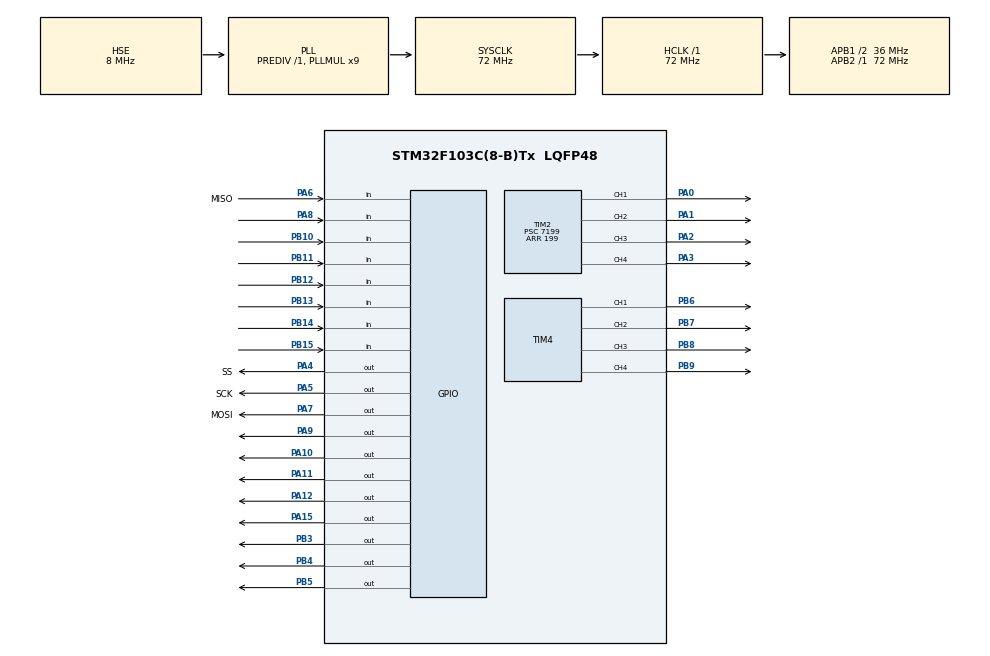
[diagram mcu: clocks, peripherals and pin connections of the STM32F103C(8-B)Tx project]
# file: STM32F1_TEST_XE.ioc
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Mcu.Family=STM32F1
Mcu.Name=STM32F103C(8-B)Tx
Mcu.Package=LQFP48
NVIC.PriorityGroup=NVIC_PRIORITYGROUP_4
PA0-WKUP.GPIO_Speed=GPIO_SPEED_FREQ_HIGH
PA0-WKUP.Signal=S_TIM2_CH1_ETR
PA1.GPIO_Speed=GPIO_SPEED_FREQ_HIGH
PA1.Signal=S_TIM2_CH2
PA10.Signal=GPIO_Output
PA11.Signal=GPIO_Output
PA12.Signal=GPIO_Output
PA13.Mode=Serial_Wire
PA13.Signal=SYS_JTMS-SWDIO
PA14.Mode=Serial_Wire
PA14.Signal=SYS_JTCK-SWCLK
PA15.Signal=GPIO_Output
PA2.GPIO_Speed=GPIO_SPEED_FREQ_HIGH
PA2.Signal=S_TIM2_CH3
PA3.GPIO_Speed=GPIO_SPEED_FREQ_HIGH
PA3.Signal=S_TIM2_CH4
PA4.GPIO_Label=SS
PA4.GPIO_Speed=GPIO_SPEED_FREQ_HIGH
PA4.PinState=GPIO_PIN_SET
PA4.Signal=GPIO_Output
PA5.GPIO_Label=SCK
PA5.GPIO_Speed=GPIO_SPEED_FREQ_HIGH
PA5.PinState=GPIO_PIN_SET
PA5.Signal=GPIO_Output
PA6.GPIO_Label=MISO
PA6.GPIO_Mode=GPIO_MODE_INPUT
PA6.Signal=GPIO_Input
PA7.GPIO_Label=MOSI
PA7.GPIO_Speed=GPIO_SPEED_FREQ_HIGH
PA7.PinState=GPIO_PIN_SET
PA7.Signal=GPIO_Output
PA8.Signal=GPIO_Input
PA9.Signal=GPIO_Output
PB10.Signal=GPIO_Input
PB11.Signal=GPIO_Input
PB12.Signal=GPIO_Input
PB13.Signal=GPIO_Input
PB14.Signal=GPIO_Input
PB15.Signal=GPIO_Input
PB3.Signal=GPIO_Output
PB4.Signal=GPIO_Output
PB5.Signal=GPIO_Output
PB6.Signal=S_TIM4_CH1
PB7.Signal=S_TIM4_CH2
PB8.Signal=S_TIM4_CH3
PB9.Signal=S_TIM4_CH4
PD0-OSC_IN.Mode=HSE-External-Oscillator
PD0-OSC_IN.Signal=RCC_OSC_IN
PD1-OSC_OUT.Mode=HSE-External-Oscillator
PD1-OSC_OUT.Signal=RCC_OSC_OUT
ProjectManager.HeapSize=0x200
ProjectManager.StackSize=0x400
ProjectManager.TargetToolchain=MDK-ARM V5
RCC.AHBFreq_Value=72000000
RCC.APB1CLKDivider=RCC_HCLK_DIV2
RCC.APB1Freq_Value=36000000
RCC.APB1TimFreq_Value=72000000
RCC.APB2Freq_Value=72000000
RCC.APB2TimFreq_Value=72000000
RCC.HCLKFreq_Value=72000000
RCC.PLLMUL=RCC_PLL_MUL9
RCC.PLLSourceVirtual=RCC_PLLSOURCE_HSE
RCC.SYSCLKFreq_VALUE=72000000
RCC.SYSCLKSource=RCC_SYSCLKSOURCE_PLLCLK
RCC.USBFreq_Value=72000000
SH.S_TIM2_CH1_ETR.0=TIM2_CH1,PWM Generation1 CH1
SH.S_TIM2_CH2.0=TIM2_CH2,PWM Generation2 CH2
SH.S_TIM2_CH3.0=TIM2_CH3,PWM Generation3 CH3
SH.S_TIM2_CH4.0=TIM2_CH4,PWM Generation4 CH4
SH.S_TIM4_CH1.0=TIM4_CH1,PWM Generation1 CH1
SH.S_TIM4_CH2.0=TIM4_CH2,PWM Generation2 CH2
SH.S_TIM4_CH3.0=TIM4_CH3,PWM Generation3 CH3
SH.S_TIM4_CH4.0=TIM4_CH4,PWM Generation4 CH4
TIM2.Channel-PWM\ Generation1\ CH1=TIM_CHANNEL_1
TIM2.Channel-PWM\ Generation2\ CH2=TIM_CHANNEL_2
TIM2.Channel-PWM\ Generation3\ CH3=TIM_CHANNEL_3
TIM2.Channel-PWM\ Generation4\ CH4=TIM_CHANNEL_4
TIM2.Period=199
TIM2.Prescaler=7199
TIM3.Prescaler=71
TIM4.Channel-PWM\ Generation1\ CH1=TIM_CHANNEL_1
TIM4.Channel-PWM\ Generation2\ CH2=TIM_CHANNEL_2
TIM4.Channel-PWM\ Generation3\ CH3=TIM_CHANNEL_3
TIM4.Channel-PWM\ Generation4\ CH4=TIM_CHANNEL_4
VP_TIM1_VS_ClockSourceINT.Mode=Internal
VP_TIM2_VS_ClockSourceINT.Mode=Internal
VP_TIM3_VS_ClockSourceINT.Mode=Internal
VP_TIM4_VS_ClockSourceINT.Mode=Internal
board=custom

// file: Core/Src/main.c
/* USER CODE BEGIN Header */
/**
  ****************************************************************************
  * @file           : main.c
  * @brief          : Main program body
  ****************************************************************************
  * @attention
  *
  * Copyright (c) 2022 STMicroelectronics.
  * All rights reserved.
  *
  * This software is licensed under terms that can be found in the LICENSE file
  * in the root directory of this software component.
  * If no LICENSE file comes with this software, it is provided AS-IS.
  *
  ****************************************************************************
  */
/* USER CODE END Header */
#include "main.h"
#include "PS2.h"

 TIM_HandleTypeDef htim1;
TIM_HandleTypeDef htim2;
TIM_HandleTypeDef htim3;
TIM_HandleTypeDef htim4;

void SystemClock_Config(void);
static void MX_GPIO_Init(void);
static void MX_TIM2_Init(void);
static void MX_TIM3_Init(void);
static void MX_TIM1_Init(void);
static void MX_TIM4_Init(void);
/* USER CODE BEGIN PFP */
int check = 0;
int leftMotorSpeed;
int rightMotorSpeed;
int count = 0;
uint8_t LFSensor[5];
uint8_t Obsen[2];
uint16_t InitSpeedLeft = 500;
uint16_t InitSpeedRight = 500;
int error;
int previous_error = 0;
int chuyen_mode = 0;
int time_delay = 20;
/* USER CODE END PFP */

/* USER CODE BEGIN 0 */
void SpeedControl(int leftMotorSpeed, int rightMotorSpeed);
void Tien(){
	HAL_GPIO_WritePin(GPIOB, Tren_Trai_1, GPIO_PIN_RESET);
	HAL_GPIO_WritePin(GPIOA, Tren_Trai_2, GPIO_PIN_SET);
	HAL_GPIO_WritePin(GPIOB, Tren_Phai_1, GPIO_PIN_RESET);
	HAL_GPIO_WritePin(GPIOB, Tren_Phai_2, GPIO_PIN_SET);
	//////////////////////
	HAL_GPIO_WritePin(GPIOA, Duoi_Trai_1, GPIO_PIN_RESET);
	HAL_GPIO_WritePin(GPIOA, Duoi_Trai_2, GPIO_PIN_SET);
	HAL_GPIO_WritePin(GPIOA, Duoi_Phai_1, GPIO_PIN_RESET);
	HAL_GPIO_WritePin(GPIOA, Duoi_Phai_2, GPIO_PIN_SET);
}
void Lui(){
HAL_GPIO_WritePin(GPIOB, Tren_Trai_1, GPIO_PIN_SET);
	HAL_GPIO_WritePin(GPIOA, Tren_Trai_2, GPIO_PIN_RESET);
	HAL_GPIO_WritePin(GPIOB, Tren_Phai_1, GPIO_PIN_SET);
	HAL_GPIO_WritePin(GPIOB, Tren_Phai_2, GPIO_PIN_RESET);
	//////////////////////
	HAL_GPIO_WritePin(GPIOA, Duoi_Trai_1, GPIO_PIN_SET);
	HAL_GPIO_WritePin(GPIOA, Duoi_Trai_2, GPIO_PIN_RESET);
	HAL_GPIO_WritePin(GPIOA, Duoi_Phai_1, GPIO_PIN_SET);
	HAL_GPIO_WritePin(GPIOA, Duoi_Phai_2, GPIO_PIN_RESET);
}
void Trai(){
	HAL_GPIO_WritePin(GPIOB, Tren_Trai_1, GPIO_PIN_RESET);
	HAL_GPIO_WritePin(GPIOA, Tren_Trai_2, GPIO_PIN_SET);
	HAL_GPIO_WritePin(GPIOB, Tren_Phai_1, GPIO_PIN_RESET);
	HAL_GPIO_WritePin(GPIOB, Tren_Phai_2, GPIO_PIN_RESET);
	//////////////////////
	HAL_GPIO_WritePin(GPIOA, Duoi_Trai_1, GPIO_PIN_RESET);
	HAL_GPIO_WritePin(GPIOA, Duoi_Trai_2, GPIO_PIN_SET);
	HAL_GPIO_WritePin(GPIOA, Duoi_Phai_1, GPIO_PIN_RESET);
	HAL_GPIO_WritePin(GPIOA, Duoi_Phai_2, GPIO_PIN_RESET);
}
void Phai(){
	HAL_GPIO_WritePin(GPIOB, Tren_Trai_1, GPIO_PIN_RESET);
	HAL_GPIO_WritePin(GPIOA, Tren_Trai_2, GPIO_PIN_RESET);
	HAL_GPIO_WritePin(GPIOB, Tren_Phai_1, GPIO_PIN_RESET);
	HAL_GPIO_WritePin(GPIOB, Tren_Phai_2, GPIO_PIN_SET);
	//////////////////////
	HAL_GPIO_WritePin(GPIOA, Duoi_Trai_1, GPIO_PIN_RESET);
	HAL_GPIO_WritePin(GPIOA, Duoi_Trai_2, GPIO_PIN_RESET);
	HAL_GPIO_WritePin(GPIOA, Duoi_Phai_1, GPIO_PIN_RESET);
	HAL_GPIO_WritePin(GPIOA, Duoi_Phai_2, GPIO_PIN_SET);
}
void Trai_Tai_Cho(){
	HAL_GPIO_WritePin(GPIOB, Tren_Trai_1, GPIO_PIN_SET);
	HAL_GPIO_WritePin(GPIOA, Tren_Trai_2, GPIO_PIN_RESET);
	HAL_GPIO_WritePin(GPIOB, Tren_Phai_1, GPIO_PIN_RESET);
	HAL_GPIO_WritePin(GPIOB, Tren_Phai_2, GPIO_PIN_SET);
	//////////////////////
	HAL_GPIO_WritePin(GPIOA, Duoi_Trai_1, GPIO_PIN_SET);
	HAL_GPIO_WritePin(GPIOA, Duoi_Trai_2, GPIO_PIN_RESET);
	HAL_GPIO_WritePin(GPIOA, Duoi_Phai_1, GPIO_PIN_RESET);
	HAL_GPIO_WritePin(GPIOA, Duoi_Phai_2, GPIO_PIN_SET);
}
void Phai_Tai_Cho(){
	HAL_GPIO_WritePin(GPIOB, Tren_Trai_1, GPIO_PIN_RESET);
	HAL_GPIO_WritePin(GPIOA, Tren_Trai_2, GPIO_PIN_SET);
	HAL_GPIO_WritePin(GPIOB, Tren_Phai_1, GPIO_PIN_SET);
	HAL_GPIO_WritePin(GPIOB, Tren_Phai_2, GPIO_PIN_RESET);
	//////////////////////
	HAL_GPIO_WritePin(GPIOA, Duoi_Trai_1, GPIO_PIN_RESET);
	HAL_GPIO_WritePin(GPIOA, Duoi_Trai_2, GPIO_PIN_SET);
	HAL_GPIO_WritePin(GPIOA, Duoi_Phai_1, GPIO_PIN_SET);
	HAL_GPIO_WritePin(GPIOA, Duoi_Phai_2, GPIO_PIN_RESET);
}
void Dung(){
	HAL_GPIO_WritePin(GPIOB, Tren_Trai_1, GPIO_PIN_RESET);
	HAL_GPIO_WritePin(GPIOA, Tren_Trai_2, GPIO_PIN_RESET);
	HAL_GPIO_WritePin(GPIOB, Tren_Phai_1, GPIO_PIN_RESET);
	HAL_GPIO_WritePin(GPIOB, Tren_Phai_2, GPIO_PIN_RESET);
	//////////////////////
	HAL_GPIO_WritePin(GPIOA, Duoi_Trai_1, GPIO_PIN_RESET);
	HAL_GPIO_WritePin(GPIOA, Duoi_Trai_2, GPIO_PIN_RESET);
	HAL_GPIO_WritePin(GPIOA, Duoi_Phai_1, GPIO_PIN_RESET);
	HAL_GPIO_WritePin(GPIOA, Duoi_Phai_2, GPIO_PIN_RESET);
}
/* Private user code ---------------------------------------------------------*/
/* USER CODE BEGIN 0 */
void read_sen()
{
			LFSensor[0] = HAL_GPIO_ReadPin(GPIOB,	GPIO_PIN_12);
		LFSensor[1] = HAL_GPIO_ReadPin(GPIOB, GPIO_PIN_13);
		LFSensor[2] = HAL_GPIO_ReadPin(GPIOB, GPIO_PIN_14);
		LFSensor[3] = HAL_GPIO_ReadPin(GPIOB, GPIO_PIN_15);
		LFSensor[4] = HAL_GPIO_ReadPin(GPIOB, GPIO_PIN_11);
}
void read_line_sensor()
{
		read_sen();
		if((LFSensor[0]== 0 )&&(LFSensor[1]== 0 )&&(LFSensor[2]== 0 )&&(LFSensor[3]== 0 )&&(LFSensor[4]== 0 ))
		{
				error = previous_error;
		}

		if((LFSensor[0]== 0 )&&(LFSensor[1]== 0 )&&(LFSensor[2]== 0 )&&(LFSensor[3]== 0 )&&(LFSensor[4]== 1 )) error = 4; // Thang trai vua

			else if((LFSensor[0]== 0 )&&(LFSensor[1]== 0 )&&(LFSensor[2]== 0 )&&(LFSensor[3]== 1 )&&(LFSensor[4]== 0 )) error = 3; // Thang trai nhe

			else if((LFSensor[0]== 0 )&&(LFSensor[1]== 0 )&&(LFSensor[2]== 0 )&&(LFSensor[3]== 1 )&&(LFSensor[4]== 1 )) error = 4; // Thang trai vua

			else if((LFSensor[0]== 0 )&&(LFSensor[1]== 0 )&&(LFSensor[2]== 1 )&&(LFSensor[3]== 0 )&&(LFSensor[4]== 0 )) error = 0; // Thang full speed

			else if((LFSensor[0]== 0 )&&(LFSensor[1]== 0 )&&(LFSensor[2]== 1 )&&(LFSensor[3]== 1 )&&(LFSensor[4]== 0 )) error = 0; // Thang full speed

			else if((LFSensor[0]== 0 )&&(LFSensor[1]== 1 )&&(LFSensor[2]== 1 )&&(LFSensor[3]== 0 )&&(LFSensor[4]== 0 )) error = 0; // Thang full speed

			else if((LFSensor[0]== 0 )&&(LFSensor[1]== 0 )&&(LFSensor[2]== 1 )&&(LFSensor[3]== 1 )&&(LFSensor[4]== 1 )) error = 2; // Trai tai cho full speed

			else if((LFSensor[0]== 0 )&&(LFSensor[1]== 1 )&&(LFSensor[2]== 1 )&&(LFSensor[3]== 1 )&&(LFSensor[4]== 1 )) error = 2; // Trai tai cho full speed

			else if((LFSensor[0]== 1 )&&(LFSensor[1]== 0 )&&(LFSensor[2]== 0 )&&(LFSensor[3]== 0 )&&(LFSensor[4]== 0 )) error = -4; // Thang phai vua

			else if((LFSensor[0]== 0 )&&(LFSensor[1]== 1 )&&(LFSensor[2]== 0 )&&(LFSensor[3]== 0 )&&(LFSensor[4]== 0 )) error = -3; // Thang phai nhe

			else if((LFSensor[0]== 1 )&&(LFSensor[1]== 1 )&&(LFSensor[2]== 0 )&&(LFSensor[3]== 0 )&&(LFSensor[4]== 0 )) error = -4; // Thang phai vua

			else if((LFSensor[0]== 1 )&&(LFSensor[1]== 1 )&&(LFSensor[2]== 1 )&&(LFSensor[3]== 0 )&&(LFSensor[4]== 0 )) error = -2; // Phai tai cho full speed

			else if((LFSensor[0]== 1 )&&(LFSensor[1]== 1 )&&(LFSensor[2]== 1 )&&(LFSensor[3]== 1 )&&(LFSensor[4]== 0 )) error = -2; // Phai tai cho full speed

			else if((LFSensor[0]== 1 )&&(LFSensor[1]== 0 )&&(LFSensor[2]== 1 )&&(LFSensor[3]== 1 )&&(LFSensor[4]== 0 ))
			{
					check = 1;
					error = 0;
					HAL_GPIO_WritePin(GPIOC, GPIO_PIN_13, GPIO_PIN_SET);
			}

			else if((LFSensor[0]== 0 )&&(LFSensor[1]== 1 )&&(LFSensor[2]== 1 )&&(LFSensor[3]== 0 )&&(LFSensor[4]== 1 ))
			{
					check = 1;
					error = 0;
					HAL_GPIO_WritePin(GPIOC, GPIO_PIN_13, GPIO_PIN_SET);
			}

			else if((LFSensor[0]== 1 )&&(LFSensor[1]== 1 )&&(LFSensor[2]== 0 )&&(LFSensor[3]== 1 )&&(LFSensor[4]== 0 ))
			{
					check = 1;
					error = 0;
					HAL_GPIO_WritePin(GPIOC, GPIO_PIN_13, GPIO_PIN_SET);
			}
			else if((LFSensor[0]== 0 )&&(LFSensor[1]== 1 )&&(LFSensor[2]== 0 )&&(LFSensor[3]== 1 )&&(LFSensor[4]== 1 ))
			{
					check = 1;
					error = 0;
					HAL_GPIO_WritePin(GPIOC, GPIO_PIN_13, GPIO_PIN_SET);
			}

			else if((LFSensor[0]== 1 )&&(LFSensor[1]== 1 )&&(LFSensor[2]== 0 )&&(LFSensor[3]== 0 )&&(LFSensor[4]== 1 ))
			{
					check = 1;
					error = 0;
					HAL_GPIO_WritePin(GPIOC, GPIO_PIN_13, GPIO_PIN_SET);
			}

			else if((LFSensor[0]== 1 )&&(LFSensor[1]== 0 )&&(LFSensor[2]== 0 )&&(LFSensor[3]== 1 )&&(LFSensor[4]== 1 ))
			{
					check = 1;
					error = 0;
					HAL_GPIO_WritePin(GPIOC, GPIO_PIN_13, GPIO_PIN_SET);
			}

			else if((LFSensor[0]== 1 )&&(LFSensor[1]== 1 )&&(LFSensor[2]== 0 )&&(LFSensor[3]== 1 )&&(LFSensor[4]== 1 ))
			{
					check = 1;
					error = 0;
					HAL_GPIO_WritePin(GPIOC, GPIO_PIN_13, GPIO_PIN_SET);
			}

			else if((LFSensor[0]== 1 )&&(LFSensor[1]== 0 )&&(LFSensor[2]== 0 )&&(LFSensor[3]== 1 )&&(LFSensor[4]== 0 ))
			{
					check = 1;
					error = 0;
					HAL_GPIO_WritePin(GPIOC, GPIO_PIN_13, GPIO_PIN_SET);
			}

			else if((LFSensor[0]== 0 )&&(LFSensor[1]== 1 )&&(LFSensor[2]== 0 )&&(LFSensor[3]== 0 )&&(LFSensor[4]== 1 ))
			{
					check = 1;
					error = 0;
					HAL_GPIO_WritePin(GPIOC, GPIO_PIN_13, GPIO_PIN_SET);
			}

			else if((LFSensor[0]== 1 )&&(LFSensor[1]== 0 )&&(LFSensor[2]== 0 )&&(LFSensor[3]== 0 )&&(LFSensor[4]== 1 ))
			{
					check = 1;
					error = 0;
					HAL_GPIO_WritePin(GPIOC, GPIO_PIN_13, GPIO_PIN_SET);
			}

			else if((LFSensor[0]== 1 )&&(LFSensor[1]== 0 )&&(LFSensor[2]== 1 )&&(LFSensor[3]== 0 )&&(LFSensor[4]== 1 ))
			{
					check = 1;
					error = 0;
					HAL_GPIO_WritePin(GPIOC, GPIO_PIN_13, GPIO_PIN_SET);
			}

			else if((LFSensor[0]== 1)&&(LFSensor[1]== 1 )&&(LFSensor[2]== 1 )&&(LFSensor[3]== 1 )&&(LFSensor[4]== 1 )){
					if (check == 0){
						error = 0;
					}else if (check ==1){
						error = 10;
						check =0;
						HAL_GPIO_WritePin(GPIOC, GPIO_PIN_13, GPIO_PIN_RESET);
					}
			}
			else if((LFSensor[0]== 0 )&&(LFSensor[1]== 1 )&&(LFSensor[2]== 1 )&&(LFSensor[3]== 1 )&&(LFSensor[4]== 0 )){
					check = 1;
					error = 0;
			}
			if (count>1000){
					check = 0;
					count = 0;
					HAL_GPIO_WritePin(GPIOC, GPIO_PIN_13, GPIO_PIN_RESET);
			}
}

void calculateSpeed()
{

	if(error==0){
			Tien();
			//HAL_GPIO_WritePin(GPIOC, GPIO_PIN_13, GPIO_PIN_SET);
			SpeedControl(InitSpeedLeft-100, InitSpeedRight-100);
			HAL_Delay(time_delay);
	}else if(error==-4){
			Phai_Tai_Cho();
			//Tien();
			SpeedControl(InitSpeedLeft - 100, InitSpeedRight - 100);
			HAL_Delay(time_delay);
	}else if(error==4){
			Trai_Tai_Cho();
			//Tien();
			SpeedControl(InitSpeedLeft - 100 , InitSpeedRight - 100);
			HAL_Delay(time_delay);
//	}else if(error==-2){
//			Phai_Tai_Cho();
//			//Tien();
//			SpeedControl(InitSpeedLeft - 100 , InitSpeedRight - 100);
//			HAL_Delay(time_delay);
//	}else if(error==2){
//			Trai_Tai_Cho();
//			//Tien();
//			SpeedControl(InitSpeedLeft - 100, InitSpeedRight - 100);
//			HAL_Delay(time_delay);
	}else if(error==-3){
			Phai_Tai_Cho();
			//Tien();
			SpeedControl(InitSpeedLeft - 100 , InitSpeedRight - 100);
			HAL_Delay(time_delay);
	}else if(error==3){
			Trai_Tai_Cho();
			//Tien();
			SpeedControl(InitSpeedLeft - 100, InitSpeedRight - 100);
			HAL_Delay(time_delay);
	}else if(error==-4){
			Phai_Tai_Cho();
			//Tien();
			SpeedControl(InitSpeedLeft - 100, InitSpeedRight - 100);

		HAL_Delay(time_delay);
	}else if(error==4){
			Trai_Tai_Cho();
			//Tien();
			SpeedControl(InitSpeedLeft - 100, InitSpeedRight - 100);
			HAL_Delay(time_delay);
	}else if(error==2){
			Dung();
			//Lui();
			//HAL_Delay(100);
			Dung();
			do{
				read_line_sensor();
				Trai_Tai_Cho();
				SpeedControl(InitSpeedLeft-100, InitSpeedRight-100);
				HAL_Delay(200);
			}while(error!=0);
	}else if(error==-2){
			Dung();
			//Lui();
			//HAL_Delay(100);
			Dung();
			do{
				read_line_sensor();
				Phai_Tai_Cho();
				SpeedControl(InitSpeedLeft-100, InitSpeedRight-100);
				HAL_Delay(200);
			}while(error!=0);
	} else if (error == 10){
			Dung();
			HAL_Delay(100);
			Phai_Tai_Cho();
			SpeedControl(400, 400);
			HAL_Delay(500);
			//HAL_GPIO_WritePin(GPIOC, GPIO_PIN_13, GPIO_PIN_RESET);
	}
		previous_error = error;
}

void SpeedControl(int leftMotorSpeed, int rightMotorSpeed)
{

	TIM4->CCR1 = rightMotorSpeed;
	TIM4->CCR2 = leftMotorSpeed;

	TIM4->CCR3 = rightMotorSpeed;
	TIM4->CCR4 = leftMotorSpeed;
}
/* USER CODE END 0 */

int main(void)
{

  /* MCU Configuration--------------------------------------------------------*/

  /* Reset of all peripherals, Initializes the Flash interface and the Systick. */
  HAL_Init();

  /* Configure the system clock */
  SystemClock_Config();

  /* Initialize all configured peripherals */
  MX_GPIO_Init();
  MX_TIM2_Init();
  MX_TIM3_Init();
  MX_TIM1_Init();
  MX_TIM4_Init();
  /* USER CODE BEGIN 2 */
	HAL_TIM_PWM_Start(&htim4, TIM_CHANNEL_1);
	HAL_TIM_PWM_Start(&htim4, TIM_CHANNEL_2);
	HAL_TIM_PWM_Start(&htim4, TIM_CHANNEL_3);
	HAL_TIM_PWM_Start(&htim4, TIM_CHANNEL_4);

	HAL_TIM_PWM_Start(&htim2, TIM_CHANNEL_1);
	HAL_TIM_PWM_Start(&htim2, TIM_CHANNEL_2);
	HAL_TIM_PWM_Start(&htim2, TIM_CHANNEL_3);
	HAL_TIM_PWM_Start(&htim2, TIM_CHANNEL_4);

 float servo1 = 5;
 float servo2 = 25;
 float servo3 = 10;
 float servo4 = 25;
 TIM2->CCR1 = servo1;
 TIM2->CCR2 = servo2;
 TIM2->CCR3 = servo3;
 TIM2->CCR4 = servo4;
  /* USER CODE END 2 */

  /* Infinite loop */
  /* USER CODE BEGIN WHILE */
	PS2Buttons PS2;
	PS2_Init(&htim3, &PS2);
  while(1)
  {
		TIM4->CCR1 = 500;
		TIM4->CCR2 = 500;
		TIM4->CCR3 = 500;
		TIM4->CCR4 = 500;

		PS2_Update();

		if (PS2.UP) {
			//HAL_GPIO_WritePin(GPIOC, GPIO_PIN_13, GPIO_PIN_RESET);
			Tien();
		} else if (PS2.DOWN) {
			//HAL_GPIO_WritePin(GPIOC, GPIO_PIN_13, GPIO_PIN_SET);
			Lui();
		}else if (PS2.LEFT) {
			//HAL_GPIO_WritePin(GPIOC, GPIO_PIN_13, GPIO_PIN_SET);
			Trai();
		}else if (PS2.RIGHT) {
			//HAL_GPIO_WritePin(GPIOC, GPIO_PIN_13, GPIO_PIN_RESET);
			Phai();
		} else if (PS2.L1) {
			//HAL_GPIO_WritePin(GPIOC, GPIO_PIN_13, GPIO_PIN_SET);
			Trai_Tai_Cho();
		} else if (PS2.L2) {
			//HAL_GPIO_WritePin(GPIOC, GPIO_PIN_13, GPIO_PIN_RESET);
			Phai_Tai_Cho();
		} else if (PS2.L3) {
			chuyen_mode = 1;
		} else if(PS2.CIRCLE) {
					HAL_GPIO_WritePin(GPIOC, GPIO_PIN_13, GPIO_PIN_SET);
					servo1 += 0.4;
					if(servo1 >= 12.5) servo1 = 12.5;
					TIM2->CCR1 = servo1;
					HAL_Delay(10);
			} else if(PS2.SQUARE) {
					HAL_GPIO_WritePin(GPIOC, GPIO_PIN_13, GPIO_PIN_RESET);
					servo1 -= 0.4;
					if(servo1 <= 5) servo1 = 5;
					TIM2->CCR1 = servo1;
					HAL_Delay(10);
			} else if(PS2.R1) {
					HAL_GPIO_WritePin(GPIOC, GPIO_PIN_13, GPIO_PIN_SET);
					servo2 += 0.3;
					if(servo2 >= 25) servo2 = 25;
					TIM2->CCR2 = servo2;
					HAL_Delay(40);
			} else if(PS2.R2) {
					HAL_GPIO_WritePin(GPIOC, GPIO_PIN_13, GPIO_PIN_RESET);
					servo2 -= 0.3;
					if(servo2 <= 18) servo2 = 18;
					TIM2->CCR2 = servo2;
					HAL_Delay(40);
			}  else if(PS2.TRIANGLE) {
					HAL_GPIO_WritePin(GPIOC, GPIO_PIN_13, GPIO_PIN_SET);
					servo3 -= 0.2;
					servo4 -= 0.1;
					if(servo3 <= 2.5) servo3 = 2.5;
					if(servo4 <= 20) servo4 = 20;
					TIM2->CCR3 = servo3;
					TIM2->CCR4 = servo4;
					HAL_Delay(10);
			} else if(PS2.CROSS) {
					HAL_GPIO_WritePin(GPIOC, GPIO_PIN_13, GPIO_PIN_RESET);
					servo3 += 0.1;
					servo4 += 0.2;
					if(servo3 >= 10) servo3 = 10;
					if(servo4 >= 25) servo4 = 25;
					TIM2->CCR3 = servo3;
					TIM2->CCR4 = servo4;
					HAL_Delay(10);
			} else {
			Dung();
		}

		if(chuyen_mode == 1){
			Dung();
			HAL_Delay(100);
			HAL_GPIO_WritePin(GPIOC, GPIO_PIN_13, GPIO_PIN_RESET);
			while(1){
				int a = HAL_GPIO_ReadPin(GPIOA, GPIO_PIN_8);
				int b = HAL_GPIO_ReadPin(GPIOB, GPIO_PIN_10);
				if (a == 0) {
						Dung();
						TIM4->CCR1 = 400;
						TIM4->CCR2 = 400;
						TIM4->CCR3 = 400;
						TIM4->CCR4 = 400;
						Phai_Tai_Cho();
						HAL_Delay(500);
						Tien();
						HAL_Delay(500);
						Trai_Tai_Cho();
						HAL_Delay(500);
						Tien();
						HAL_Delay(500);
						Trai_Tai_Cho();
						HAL_Delay(500);
						Tien();
						HAL_Delay(500);
						Phai_Tai_Cho();
						HAL_Delay(500);
				}
				if (b == 0) {
						Dung();
						TIM4->CCR1 = 400;
						TIM4->CCR2 = 400;
						TIM4->CCR3 = 400;
						TIM4->CCR4 = 400;
						Trai_Tai_Cho();
						HAL_Delay(500);
						Tien();
						HAL_Delay(500);
						Phai_Tai_Cho();
						HAL_Delay(500);
						Tien();
						HAL_Delay(500);
						Phai_Tai_Cho();
						HAL_Delay(500);
						Tien();
						HAL_Delay(500);
						Trai_Tai_Cho();
						HAL_Delay(500);
				}
				Dung();
				read_line_sensor();
				calculateSpeed();
				if (check==1){
					count+=1;
				}
				HAL_Delay(2);
			}

		}
		HAL_Delay(2);
    /* USER CODE END WHILE */

  }
}

void SystemClock_Config(void)
{
  RCC_OscInitTypeDef RCC_OscInitStruct = {0};
  RCC_ClkInitTypeDef RCC_ClkInitStruct = {0};

  /** Initializes the RCC Oscillators according to the specified parameters
  * in the RCC_OscInitTypeDef structure.
  */
  RCC_OscInitStruct.OscillatorType = RCC_OSCILLATORTYPE_HSE;
  RCC_OscInitStruct.HSEState = RCC_HSE_ON;
  RCC_OscInitStruct.HSEPredivValue = RCC_HSE_PREDIV_DIV1;
  RCC_OscInitStruct.HSIState = RCC_HSI_ON;
  RCC_OscInitStruct.PLL.PLLState = RCC_PLL_ON;
  RCC_OscInitStruct.PLL.PLLSource = RCC_PLLSOURCE_HSE;
  RCC_OscInitStruct.PLL.PLLMUL = RCC_PLL_MUL9;
  if (HAL_RCC_OscConfig(&RCC_OscInitStruct) != HAL_OK)
  {
    Error_Handler();
  }

  /** Initializes the CPU, AHB and APB buses clocks
  */
  RCC_ClkInitStruct.ClockType = RCC_CLOCKTYPE_HCLK|RCC_CLOCKTYPE_SYSCLK
                              |RCC_CLOCKTYPE_PCLK1|RCC_CLOCKTYPE_PCLK2;
  RCC_ClkInitStruct.SYSCLKSource = RCC_SYSCLKSOURCE_PLLCLK;
  RCC_ClkInitStruct.AHBCLKDivider = RCC_SYSCLK_DIV1;
  RCC_ClkInitStruct.APB1CLKDivider = RCC_HCLK_DIV2;
  RCC_ClkInitStruct.APB2CLKDivider = RCC_HCLK_DIV1;

  if (HAL_RCC_ClockConfig(&RCC_ClkInitStruct, FLASH_LATENCY_2) != HAL_OK)
  {
    Error_Handler();
  }
}

static void MX_TIM1_Init(void)
{

  TIM_ClockConfigTypeDef sClockSourceConfig = {0};
  TIM_MasterConfigTypeDef sMasterConfig = {0};

  htim1.Instance = TIM1;
  htim1.Init.Prescaler = 0;
  htim1.Init.CounterMode = TIM_COUNTERMODE_UP;
  htim1.Init.Period = 65535;
  htim1.Init.ClockDivision = TIM_CLOCKDIVISION_DIV1;
  htim1.Init.RepetitionCounter = 0;
  htim1.Init.AutoReloadPreload = TIM_AUTORELOAD_PRELOAD_DISABLE;
  if (HAL_TIM_Base_Init(&htim1) != HAL_OK)
  {
    Error_Handler();
  }
  sClockSourceConfig.ClockSource = TIM_CLOCKSOURCE_INTERNAL;
  if (HAL_TIM_ConfigClockSource(&htim1, &sClockSourceConfig) != HAL_OK)
  {
    Error_Handler();
  }
  sMasterConfig.MasterOutputTrigger = TIM_TRGO_RESET;
  sMasterConfig.MasterSlaveMode = TIM_MASTERSLAVEMODE_DISABLE;
  if (HAL_TIMEx_MasterConfigSynchronization(&htim1, &sMasterConfig) != HAL_OK)
  {
    Error_Handler();
  }

}

static void MX_TIM2_Init(void)
{

  TIM_ClockConfigTypeDef sClockSourceConfig = {0};
  TIM_MasterConfigTypeDef sMasterConfig = {0};
  TIM_OC_InitTypeDef sConfigOC = {0};

  htim2.Instance = TIM2;
  htim2.Init.Prescaler = 7199;
  htim2.Init.CounterMode = TIM_COUNTERMODE_UP;
  htim2.Init.Period = 199;
  htim2.Init.ClockDivision = TIM_CLOCKDIVISION_DIV1;
  htim2.Init.AutoReloadPreload = TIM_AUTORELOAD_PRELOAD_DISABLE;
  if (HAL_TIM_Base_Init(&htim2) != HAL_OK)
  {
    Error_Handler();
  }
  sClockSourceConfig.ClockSource = TIM_CLOCKSOURCE_INTERNAL;
  if (HAL_TIM_ConfigClockSource(&htim2, &sClockSourceConfig) != HAL_OK)
  {
    Error_Handler();
  }
  if (HAL_TIM_PWM_Init(&htim2) != HAL_OK)
  {
    Error_Handler();
  }
  sMasterConfig.MasterOutputTrigger = TIM_TRGO_RESET;
  sMasterConfig.MasterSlaveMode = TIM_MASTERSLAVEMODE_DISABLE;
  if (HAL_TIMEx_MasterConfigSynchronization(&htim2, &sMasterConfig) != HAL_OK)
  {
    Error_Handler();
  }
  sConfigOC.OCMode = TIM_OCMODE_PWM1;
  sConfigOC.Pulse = 0;
  sConfigOC.OCPolarity = TIM_OCPOLARITY_HIGH;
  sConfigOC.OCFastMode = TIM_OCFAST_DISABLE;
  if (HAL_TIM_PWM_ConfigChannel(&htim2, &sConfigOC, TIM_CHANNEL_1) != HAL_OK)
  {
    Error_Handler();
  }
  if (HAL_TIM_PWM_ConfigChannel(&htim2, &sConfigOC, TIM_CHANNEL_2) != HAL_OK)
  {
    Error_Handler();
  }
  if (HAL_TIM_PWM_ConfigChannel(&htim2, &sConfigOC, TIM_CHANNEL_3) != HAL_OK)
  {
    Error_Handler();
  }
  if (HAL_TIM_PWM_ConfigChannel(&htim2, &sConfigOC, TIM_CHANNEL_4) != HAL_OK)
  {
    Error_Handler();
  }
  HAL_TIM_MspPostInit(&htim2);

}

static void MX_TIM3_Init(void)
{

  TIM_ClockConfigTypeDef sClockSourceConfig = {0};
  TIM_MasterConfigTypeDef sMasterConfig = {0};

  htim3.Instance = TIM3;
  htim3.Init.Prescaler = 71;
  htim3.Init.CounterMode = TIM_COUNTERMODE_UP;
  htim3.Init.Period = 65535;
  htim3.Init.ClockDivision = TIM_CLOCKDIVISION_DIV1;
  htim3.Init.AutoReloadPreload = TIM_AUTORELOAD_PRELOAD_DISABLE;
  if (HAL_TIM_Base_Init(&htim3) != HAL_OK)
  {
    Error_Handler();
  }
  sClockSourceConfig.ClockSource = TIM_CLOCKSOURCE_INTERNAL;
  if (HAL_TIM_ConfigClockSource(&htim3, &sClockSourceConfig) != HAL_OK)
  {
    Error_Handler();
  }
  sMasterConfig.MasterOutputTrigger = TIM_TRGO_RESET;
  sMasterConfig.MasterSlaveMode = TIM_MASTERSLAVEMODE_DISABLE;
  if (HAL_TIMEx_MasterConfigSynchronization(&htim3, &sMasterConfig) != HAL_OK)
  {
    Error_Handler();
  }

}

static void MX_TIM4_Init(void)
{

  TIM_ClockConfigTypeDef sClockSourceConfig = {0};
  TIM_MasterConfigTypeDef sMasterConfig = {0};
  TIM_OC_InitTypeDef sConfigOC = {0};

  htim4.Instance = TIM4;
  htim4.Init.Prescaler = 71;
  htim4.Init.CounterMode = TIM_COUNTERMODE_UP;
  htim4.Init.Period = 499;
  htim4.Init.ClockDivision = TIM_CLOCKDIVISION_DIV1;
  htim4.Init.AutoReloadPreload = TIM_AUTORELOAD_PRELOAD_DISABLE;
  if (HAL_TIM_Base_Init(&htim4) != HAL_OK)
  {
    Error_Handler();
  }
  sClockSourceConfig.ClockSource = TIM_CLOCKSOURCE_INTERNAL;
  if (HAL_TIM_ConfigClockSource(&htim4, &sClockSourceConfig) != HAL_OK)
  {
    Error_Handler();
  }
  if (HAL_TIM_PWM_Init(&htim4) != HAL_OK)
  {
    Error_Handler();
  }
  sMasterConfig.MasterOutputTrigger = TIM_TRGO_RESET;
  sMasterConfig.MasterSlaveMode = TIM_MASTERSLAVEMODE_DISABLE;
  if (HAL_TIMEx_MasterConfigSynchronization(&htim4, &sMasterConfig) != HAL_OK)
  {
    Error_Handler();
  }
  sConfigOC.OCMode = TIM_OCMODE_PWM1;
  sConfigOC.Pulse = 0;
  sConfigOC.OCPolarity = TIM_OCPOLARITY_HIGH;
  sConfigOC.OCFastMode = TIM_OCFAST_DISABLE;
  if (HAL_TIM_PWM_ConfigChannel(&htim4, &sConfigOC, TIM_CHANNEL_1) != HAL_OK)
  {
    Error_Handler();
  }
  if (HAL_TIM_PWM_ConfigChannel(&htim4, &sConfigOC, TIM_CHANNEL_2) != HAL_OK)
  {
    Error_Handler();
  }
  if (HAL_TIM_PWM_ConfigChannel(&htim4, &sConfigOC, TIM_CHANNEL_3) != HAL_OK)
  {
    Error_Handler();
  }
  if (HAL_TIM_PWM_ConfigChannel(&htim4, &sConfigOC, TIM_CHANNEL_4) != HAL_OK)
  {
    Error_Handler();
  }
  HAL_TIM_MspPostInit(&htim4);

}

static void MX_GPIO_Init(void)
{
  GPIO_InitTypeDef GPIO_InitStruct = {0};

  /* GPIO Ports Clock Enable */
  __HAL_RCC_GPIOD_CLK_ENABLE();
  __HAL_RCC_GPIOA_CLK_ENABLE();
  __HAL_RCC_GPIOB_CLK_ENABLE();

  /*Configure GPIO pin Output Level */
  HAL_GPIO_WritePin(GPIOA, SS_Pin|SCK_Pin|MOSI_Pin, GPIO_PIN_SET);

  /*Configure GPIO pin Output Level */
  HAL_GPIO_WritePin(GPIOA, GPIO_PIN_9|GPIO_PIN_10|GPIO_PIN_11|GPIO_PIN_12
                          |GPIO_PIN_15, GPIO_PIN_RESET);

  /*Configure GPIO pin Output Level */
  HAL_GPIO_WritePin(GPIOB, GPIO_PIN_3|GPIO_PIN_4|GPIO_PIN_5, GPIO_PIN_RESET);

  /*Configure GPIO pins : SS_Pin SCK_Pin MOSI_Pin */
  GPIO_InitStruct.Pin = SS_Pin|SCK_Pin|MOSI_Pin;
  GPIO_InitStruct.Mode = GPIO_MODE_OUTPUT_PP;
  GPIO_InitStruct.Pull = GPIO_NOPULL;
  GPIO_InitStruct.Speed = GPIO_SPEED_FREQ_HIGH;
  HAL_GPIO_Init(GPIOA, &GPIO_InitStruct);

  /*Configure GPIO pins : MISO_Pin PA8 */
  GPIO_InitStruct.Pin = MISO_Pin|GPIO_PIN_8;
  GPIO_InitStruct.Mode = GPIO_MODE_INPUT;
  GPIO_InitStruct.Pull = GPIO_NOPULL;
  HAL_GPIO_Init(GPIOA, &GPIO_InitStruct);

  /*Configure GPIO pins : PB10 PB11 PB12 PB13
                           PB14 PB15 */
  GPIO_InitStruct.Pin = GPIO_PIN_10|GPIO_PIN_11|GPIO_PIN_12|GPIO_PIN_13
                          |GPIO_PIN_14|GPIO_PIN_15;
  GPIO_InitStruct.Mode = GPIO_MODE_INPUT;
  GPIO_InitStruct.Pull = GPIO_NOPULL;
  HAL_GPIO_Init(GPIOB, &GPIO_InitStruct);

  /*Configure GPIO pins : PA9 PA10 PA11 PA12
                           PA15 */
  GPIO_InitStruct.Pin = GPIO_PIN_9|GPIO_PIN_10|GPIO_PIN_11|GPIO_PIN_12
                          |GPIO_PIN_15;
  GPIO_InitStruct.Mode = GPIO_MODE_OUTPUT_PP;
  GPIO_InitStruct.Pull = GPIO_NOPULL;
  GPIO_InitStruct.Speed = GPIO_SPEED_FREQ_LOW;
  HAL_GPIO_Init(GPIOA, &GPIO_InitStruct);

  /*Configure GPIO pins : PB3 PB4 PB5 */
  GPIO_InitStruct.Pin = GPIO_PIN_3|GPIO_PIN_4|GPIO_PIN_5;
  GPIO_InitStruct.Mode = GPIO_MODE_OUTPUT_PP;
  GPIO_InitStruct.Pull = GPIO_NOPULL;
  GPIO_InitStruct.Speed = GPIO_SPEED_FREQ_LOW;
  HAL_GPIO_Init(GPIOB, &GPIO_InitStruct);

}

void Error_Handler(void)
{
  __disable_irq();
  while (1)
  {
  }
}
